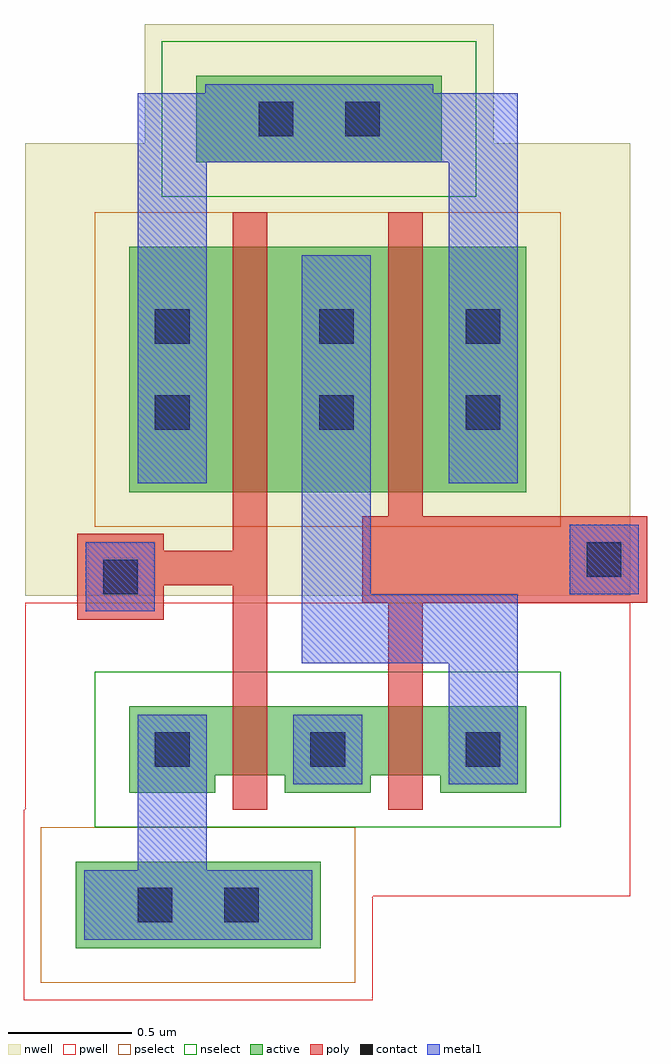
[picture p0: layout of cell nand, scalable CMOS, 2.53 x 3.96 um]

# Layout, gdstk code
import gdstk
lib = gdstk.Library(unit=1e-6, precision=1e-09)
def R(c, l, rs):  # rectangles x0, y0, x1, y1
    for r in rs: c.add(gdstk.rectangle(r[:2], r[2:], *l))
def A(c, l, x, y, w, h, nx, ny, dx, dy):  # array of equal rectangles
    R(c, l, [(x+i*dx, y+j*dy, x+i*dx+w, y+j*dy+h) for i in range(nx) for j in range(ny)])
contact = (25, 0)
pwell = (41, 0)
nwell = (42, 0)
active = (43, 0)
pselect = (44, 0)
nselect = (45, 0)
poly = (46, 0)
metal1 = (49, 0)

nand = lib.new_cell('nand')
A(nand, contact, -1.855, -0.84, 0.14, 0.14, 3, 1, 0.63, 0)
R(nand, contact, [(-1.925,-1.47,-1.785,-1.33), (-1.575,-1.47,-1.435,-1.33), (-2.065,-0.14,-1.925,0), (-0.105,-0.07,0.035,0.07), (-1.855,0.525,-1.715,0.665), (-1.19,0.525,-1.05,0.665), (-0.595,0.525,-0.455,0.665), (-1.855,0.875,-1.715,1.015), (-1.19,0.875,-1.05,1.015), (-0.595,0.875,-0.455,1.015), (-1.435,1.715,-1.295,1.855), (-1.085,1.715,-0.945,1.855)])
A(nand, pwell, -2.38, -1.365, 1.19, 1.19, 3, 1, 0.63, 0)
R(nand, pwell, [(-2.387,-1.785,-0.973,-1.015), (-2.31,-1.295,-1.207,-0.245), (-2.17,-1.295,-0.77,-0.175), (-1.732,-1.295,-0.63,-0.245), (-1.732,-1.295,-0.577,-0.245), (-1.54,-1.295,-0.14,-0.175), (-1.102,-1.295,-0.035,-0.245)])
R(nand, nwell, [(-2.38,-0.147,-1.19,1.687), (-2.17,-0.147,-0.77,1.687), (-1.715,-0.147,-0.525,1.687), (-1.54,-0.147,-0.14,1.687), (-1.12,-0.147,0.07,1.687), (-1.102,0.21,0,1.26), (-1.732,0.245,-0.595,1.295), (-1.645,0.245,-0.577,1.295), (-2.31,0.28,-1.207,1.33), (-1.897,1.4,-0.483,2.17)])
A(nand, active, -1.96, -0.945, 0.35, 0.35, 3, 1, 0.63, 0)
R(nand, active, [(-2.177,-1.575,-1.183,-1.225), (-1.89,-0.875,-1.627,-0.665), (-1.75,-0.875,-1.19,-0.595), (-1.312,-0.875,-1.05,-0.665), (-1.312,-0.875,-0.997,-0.665), (-1.12,-0.875,-0.56,-0.595), (-0.682,-0.875,-0.455,-0.665), (-1.96,0.273,-1.61,1.267), (-1.75,0.273,-1.19,1.267), (-1.295,0.273,-0.945,1.267), (-1.12,0.273,-0.56,1.267), (-0.7,0.273,-0.35,1.267), (-0.682,0.63,-0.42,0.84), (-1.312,0.665,-1.015,0.875), (-1.225,0.665,-0.997,0.875), (-1.89,0.7,-1.627,0.91), (-1.687,1.61,-0.693,1.96)])
R(nand, pselect, [(-2.317,-1.715,-1.043,-1.085), (-2.1,0.133,-1.47,1.407), (-1.89,0.133,-1.05,1.407), (-1.435,0.133,-0.805,1.407), (-1.26,0.133,-0.42,1.407), (-0.84,0.133,-0.21,1.407), (-0.822,0.49,-0.28,0.98), (-1.452,0.525,-0.875,1.015), (-1.365,0.525,-0.857,1.015), (-2.03,0.56,-1.487,1.05)])
A(nand, nselect, -2.1, -1.085, 0.63, 0.63, 3, 1, 0.63, 0)
R(nand, nselect, [(-2.03,-1.015,-1.487,-0.525), (-1.89,-1.015,-1.05,-0.455), (-1.452,-1.015,-0.91,-0.525), (-1.452,-1.015,-0.857,-0.525), (-1.26,-1.015,-0.42,-0.455), (-0.822,-1.015,-0.315,-0.525), (-1.827,1.47,-0.553,2.1)])
R(nand, poly, [(-1.54,-1.015,-1.4,-0.455), (-0.91,-1.015,-0.77,-0.455), (-1.54,-0.525,-1.4,0.035), (-0.91,-0.525,-0.77,0.07), (-2.17,-0.245,-1.82,0.105), (-1.015,-0.175,0.14,0.175), (-0.21,-0.175,0.14,0.175), (-2.065,-0.105,-1.4,0.035), (-1.54,-0.105,-1.4,0.203), (-0.91,-0.07,-0.77,0.203), (-1.54,0.133,-1.4,1.407), (-0.91,0.133,-0.77,1.407)])
A(nand, metal1, -1.925, -0.91, 0.28, 0.28, 3, 1, 0.63, 0)
R(nand, metal1, [(-2.142,-1.54,-1.218,-1.26), (-1.925,-1.505,-1.645,-0.63), (-0.665,-0.91,-0.385,-0.14), (-1.26,-0.42,-0.98,0.91), (-1.26,-0.42,-0.385,-0.14), (-2.135,-0.21,-1.855,0.07), (-0.175,-0.14,0.105,0.14), (-1.925,0.308,-1.645,1.232), (-1.26,0.308,-0.98,1.232), (-0.665,0.308,-0.385,1.232), (-1.925,0.63,-1.645,1.89), (-0.665,0.63,-0.385,1.89), (-1.925,1.61,-1.05,1.89), (-1.33,1.61,-0.385,1.89), (-1.652,1.645,-0.728,1.925)])

lib.write_gds('nand.gds')
